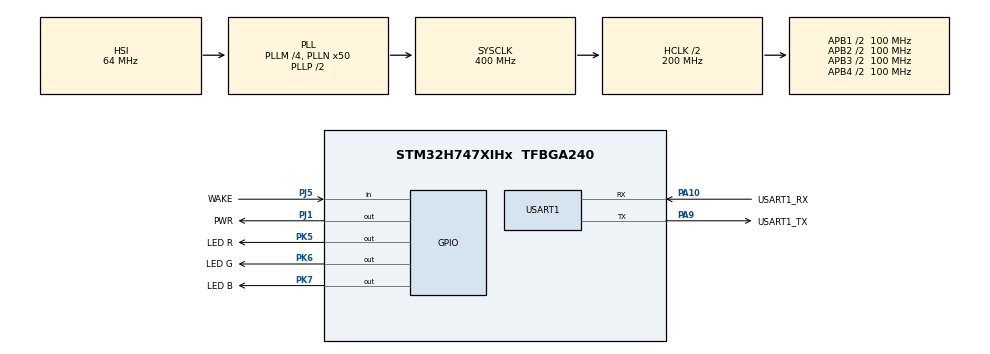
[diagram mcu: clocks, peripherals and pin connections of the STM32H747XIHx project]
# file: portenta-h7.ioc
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CortexM4.IPs=BDMA,DMA,FATFS_M4\:I,FREERTOS_M4\:I,IWDG2\:I,MDMA,NVIC2\:I,RCC,USB_DEVICE_M4\:I,USB_HOST_M4\:I,WWDG2\:I,ADC1\:I,DCMI\:I,TIM3\:I,DEBUG,PDM2PCM_M4\:I,PWR,RESMGR_UTILITY,SYS_M4\:I,CORTEX_M4\:I,OPENAMP_M4\:I,VREFBUF,GPIO
CortexM7.IPs=BDMA\:I,DMA\:I,FATFS_M7\:I,FREERTOS_M7\:I,IWDG1\:I,MDMA\:I,NVIC1\:I,RCC\:I,USB_DEVICE_M7\:I,USB_HOST_M7\:I,WWDG1\:I,CORTEX_M7\:I,DEBUG\:I,PDM2PCM_M7\:I,PWR\:I,RESMGR_UTILITY\:I,SYS\:I,OPENAMP_M7\:I,VREFBUF\:I,GPIO\:I,RNG\:I,USART1\:I,SDMMC1\:I,MEMORYMAP\:I
CortexM7.Pins=PK5,PK6,PK7,PJ1,PJ5
Mcu.Family=STM32H7
Mcu.Name=STM32H747XIHx
Mcu.Package=TFBGA240
NVIC1.PriorityGroup=NVIC_PRIORITYGROUP_4
NVIC2.PriorityGroup=NVIC_PRIORITYGROUP_4
PA10.GPIO_Label=USART1_RX
PA10.Mode=Asynchronous
PA10.PinAttribute=CortexM7
PA10.Signal=USART1_RX
PA9.GPIO_Label=USART1_TX
PA9.Mode=Asynchronous
PA9.PinAttribute=CortexM7
PA9.Signal=USART1_TX
PC10.GPIO_Label=SDIO_D2
PC10.GPIO_PuPd=GPIO_PULLUP
PC10.PinAttribute=CortexM7
PC10.Signal=SDMMC1_D2
PC11.GPIO_Label=SDIO_D3
PC11.GPIO_PuPd=GPIO_PULLUP
PC11.PinAttribute=CortexM7
PC11.Signal=SDMMC1_D3
PC12.GPIO_Label=SDIO_CLK
PC12.GPIO_PuPd=GPIO_PULLUP
PC12.PinAttribute=CortexM7
PC12.Signal=SDMMC1_CK
PC14-OSC32_IN\ (OSC32_IN).GPIO_Label=OSC32_IN
PC14-OSC32_IN\ (OSC32_IN).Mode=LSE-External-Clock-Source
PC14-OSC32_IN\ (OSC32_IN).PinAttribute=CortexM7
PC14-OSC32_IN\ (OSC32_IN).Signal=RCC_OSC32_IN
PC8.GPIO_Label=SDIO_D0
PC8.GPIO_PuPd=GPIO_PULLUP
PC8.PinAttribute=CortexM7
PC8.Signal=SDMMC1_D0
PC9.GPIO_Label=SDIO_D1
PC9.GPIO_PuPd=GPIO_PULLUP
PC9.PinAttribute=CortexM7
PC9.Signal=SDMMC1_D1
PD2.GPIO_Label=SDIO_MMC
PD2.GPIO_PuPd=GPIO_PULLUP
PD2.PinAttribute=CortexM7
PD2.Signal=SDMMC1_CMD
PH0-OSC_IN\ (PH0).GPIO_Label=OSC25M_IN
PH0-OSC_IN\ (PH0).Mode=HSE-External-Clock-Source
PH0-OSC_IN\ (PH0).PinAttribute=Free
PH0-OSC_IN\ (PH0).Signal=RCC_OSC_IN
PJ1.GPIO_Label=PWR
PJ1.PinAttribute=CortexM7
PJ1.Signal=GPIO_Output
PJ5.GPIO_Label=WAKE
PJ5.PinAttribute=CortexM7
PJ5.Signal=GPIO_Input
PK5.GPIO_Label=LED R
PK5.PinAttribute=CortexM7
PK5.PinState=GPIO_PIN_SET
PK5.Signal=GPIO_Output
PK6.GPIO_Label=LED G
PK6.PinAttribute=CortexM7
PK6.PinState=GPIO_PIN_SET
PK6.Signal=GPIO_Output
PK7.GPIO_Label=LED B
PK7.PinAttribute=CortexM7
PK7.PinState=GPIO_PIN_SET
PK7.Signal=GPIO_Output
ProjectManager.HeapSize=M4-0x200,M7-0x10000
ProjectManager.StackSize=M4-0x400,M7-0x2000
ProjectManager.TargetToolchain=CMake
RCC.ADCFreq_Value=80000000
RCC.APB1Freq_Value=100000000
RCC.APB2Freq_Value=100000000
RCC.APB3Freq_Value=100000000
RCC.APB4Freq_Value=100000000
RCC.CortexFreq_Value=400000000
RCC.D1PPRE=RCC_APB3_DIV2
RCC.D2PPRE1=RCC_APB1_DIV2
RCC.D2PPRE2=RCC_APB2_DIV2
RCC.D3PPRE=RCC_APB4_DIV2
RCC.DIVM1=4
RCC.DIVM2=4
RCC.DIVN1=50
RCC.DIVN2=10
RCC.DIVQ1=4
RCC.HCLKFreq_Value=200000000
RCC.HPRE=RCC_HCLK_DIV2
RCC.PLL2FRACN=0
RCC.PLLFRACN=0
RCC.PWR_Regulator_Voltage_Scale=PWR_REGULATOR_VOLTAGE_SCALE1
RCC.SYSCLKFreq_VALUE=400000000
RCC.SYSCLKSource=RCC_SYSCLKSOURCE_PLLCLK
RCC.SupplySource=PWR_DIRECT_SMPS_SUPPLY
RCC.USBFreq_Value=200000000
USART1.VirtualMode-Asynchronous=VM_ASYNC
VP_MEMORYMAP_VS_MEMORYMAP.Mode=CurAppReg
VP_RNG_VS_RNG.Mode=RNG_Activate
VP_SYS_M4_VS_Systick.Mode=SysTick
board=STM32H747I-DISCO

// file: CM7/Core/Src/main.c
/* USER CODE BEGIN Header */
/**
  ******************************************************************************
  * @file           : main.c
  * @brief          : Main program body
  ******************************************************************************
  * @attention
  *
  * Copyright (c) 2026 STMicroelectronics.
  * All rights reserved.
  *
  * This software is licensed under terms that can be found in the LICENSE file
  * in the root directory of this software component.
  * If no LICENSE file comes with this software, it is provided AS-IS.
  *
  ******************************************************************************
  */
/* USER CODE END Header */
#include "main.h"

/* USER CODE BEGIN Includes */
#include "mongoose.h"

/* USER CODE END Includes */

/* USER CODE BEGIN PD */

/* DUAL_CORE_BOOT_SYNC_SEQUENCE: Define for dual core boot synchronization    */
/*                             demonstration code based on hardware semaphore */
/* This define is present in both CM7/CM4 projects                            */
/* To comment when developping/debugging on a single core                     */
#define DUAL_CORE_BOOT_SYNC_SEQUENCE

#if defined(DUAL_CORE_BOOT_SYNC_SEQUENCE)
#ifndef HSEM_ID_0
#define HSEM_ID_0 (0U) /* HW semaphore 0*/
#endif
#endif /* DUAL_CORE_BOOT_SYNC_SEQUENCE */

/* USER CODE END PD */

RNG_HandleTypeDef hrng;

UART_HandleTypeDef huart1;

void SystemClock_Config(void);
static void MX_GPIO_Init(void);
static void MX_USART1_UART_Init(void);
static void MX_RNG_Init(void);

/* USER CODE BEGIN 0 */
void hwspecific_sdio_init(void);
static void log_fn(char ch, void *param) {
  HAL_UART_Transmit(param, (unsigned char *) &ch, 1, HAL_MAX_DELAY);
}

/* USER CODE END 0 */

int main(void)
{

/* USER CODE BEGIN Boot_Mode_Sequence_0 */
#if defined(DUAL_CORE_BOOT_SYNC_SEQUENCE)
  int32_t timeout;
#endif /* DUAL_CORE_BOOT_SYNC_SEQUENCE */
/* USER CODE END Boot_Mode_Sequence_0 */

/* USER CODE BEGIN Boot_Mode_Sequence_1 */
#if defined(DUAL_CORE_BOOT_SYNC_SEQUENCE)
  /* Wait until CPU2 boots and enters in stop mode or timeout*/
  timeout = 0xFFFF;
  while((__HAL_RCC_GET_FLAG(RCC_FLAG_D2CKRDY) != RESET) && (timeout-- > 0));
  if ( timeout < 0 )
  {
  Error_Handler();
  }
#endif /* DUAL_CORE_BOOT_SYNC_SEQUENCE */
/* USER CODE END Boot_Mode_Sequence_1 */
  /* MCU Configuration--------------------------------------------------------*/

  /* Reset of all peripherals, Initializes the Flash interface and the Systick. */
  HAL_Init();

  /* Configure The Vector Table address */
  SCB->VTOR = 0x08100000;

  /* Configure the system clock */
  SystemClock_Config();
/* USER CODE BEGIN Boot_Mode_Sequence_2 */
#if defined(DUAL_CORE_BOOT_SYNC_SEQUENCE)
/* When system initialization is finished, Cortex-M7 will release Cortex-M4 by means of
HSEM notification */
/*HW semaphore Clock enable*/
__HAL_RCC_HSEM_CLK_ENABLE();
/*Take HSEM */
HAL_HSEM_FastTake(HSEM_ID_0);
/*Release HSEM in order to notify the CPU2(CM4)*/
HAL_HSEM_Release(HSEM_ID_0,0);
/* wait until CPU2 wakes up from stop mode */
timeout = 0xFFFF;
while((__HAL_RCC_GET_FLAG(RCC_FLAG_D2CKRDY) == RESET) && (timeout-- > 0));
if ( timeout < 0 )
{
Error_Handler();
}
#endif /* DUAL_CORE_BOOT_SYNC_SEQUENCE */
/* USER CODE END Boot_Mode_Sequence_2 */

  /* Initialize all configured peripherals */
  MX_GPIO_Init();
  MX_USART1_UART_Init();
  MX_RNG_Init();

  /* Infinite loop */
  /* USER CODE BEGIN WHILE */
  struct mg_mgr mgr;
  hwspecific_sdio_init();
  mg_mgr_init(&mgr);
  mg_dash_init(&mgr);
  mg_log_set_fn(log_fn, &huart1);

  while (1)
  {
    mg_mgr_poll(&mgr, 0);
    mg_dash_poll(&mgr);
    /* USER CODE END WHILE */

  }
}

void SystemClock_Config(void)
{
  RCC_OscInitTypeDef RCC_OscInitStruct = {0};
  RCC_ClkInitTypeDef RCC_ClkInitStruct = {0};

  /** Supply configuration update enable
  */
  HAL_PWREx_ConfigSupply(PWR_DIRECT_SMPS_SUPPLY);

  /** Configure the main internal regulator output voltage
  */
  __HAL_PWR_VOLTAGESCALING_CONFIG(PWR_REGULATOR_VOLTAGE_SCALE1);

  while(!__HAL_PWR_GET_FLAG(PWR_FLAG_VOSRDY)) {}

  /** Initializes the RCC Oscillators according to the specified parameters
  * in the RCC_OscInitTypeDef structure.
  */
  RCC_OscInitStruct.OscillatorType = RCC_OSCILLATORTYPE_HSI48|RCC_OSCILLATORTYPE_HSI;
  RCC_OscInitStruct.HSIState = RCC_HSI_DIV1;
  RCC_OscInitStruct.HSICalibrationValue = RCC_HSICALIBRATION_DEFAULT;
  RCC_OscInitStruct.HSI48State = RCC_HSI48_ON;
  RCC_OscInitStruct.PLL.PLLState = RCC_PLL_ON;
  RCC_OscInitStruct.PLL.PLLSource = RCC_PLLSOURCE_HSI;
  RCC_OscInitStruct.PLL.PLLM = 4;
  RCC_OscInitStruct.PLL.PLLN = 50;
  RCC_OscInitStruct.PLL.PLLP = 2;
  RCC_OscInitStruct.PLL.PLLQ = 4;
  RCC_OscInitStruct.PLL.PLLR = 2;
  RCC_OscInitStruct.PLL.PLLRGE = RCC_PLL1VCIRANGE_3;
  RCC_OscInitStruct.PLL.PLLVCOSEL = RCC_PLL1VCOWIDE;
  RCC_OscInitStruct.PLL.PLLFRACN = 0;
  if (HAL_RCC_OscConfig(&RCC_OscInitStruct) != HAL_OK)
  {
    Error_Handler();
  }

  /** Initializes the CPU, AHB and APB buses clocks
  */
  RCC_ClkInitStruct.ClockType = RCC_CLOCKTYPE_HCLK|RCC_CLOCKTYPE_SYSCLK
                              |RCC_CLOCKTYPE_PCLK1|RCC_CLOCKTYPE_PCLK2
                              |RCC_CLOCKTYPE_D3PCLK1|RCC_CLOCKTYPE_D1PCLK1;
  RCC_ClkInitStruct.SYSCLKSource = RCC_SYSCLKSOURCE_PLLCLK;
  RCC_ClkInitStruct.SYSCLKDivider = RCC_SYSCLK_DIV1;
  RCC_ClkInitStruct.AHBCLKDivider = RCC_HCLK_DIV2;
  RCC_ClkInitStruct.APB3CLKDivider = RCC_APB3_DIV2;
  RCC_ClkInitStruct.APB1CLKDivider = RCC_APB1_DIV2;
  RCC_ClkInitStruct.APB2CLKDivider = RCC_APB2_DIV2;
  RCC_ClkInitStruct.APB4CLKDivider = RCC_APB4_DIV2;

  if (HAL_RCC_ClockConfig(&RCC_ClkInitStruct, FLASH_LATENCY_2) != HAL_OK)
  {
    Error_Handler();
  }
}

static void MX_RNG_Init(void)
{

  hrng.Instance = RNG;
  hrng.Init.ClockErrorDetection = RNG_CED_ENABLE;
  if (HAL_RNG_Init(&hrng) != HAL_OK)
  {
    Error_Handler();
  }

}

static void MX_USART1_UART_Init(void)
{

  huart1.Instance = USART1;
  huart1.Init.BaudRate = 115200;
  huart1.Init.WordLength = UART_WORDLENGTH_8B;
  huart1.Init.StopBits = UART_STOPBITS_1;
  huart1.Init.Parity = UART_PARITY_NONE;
  huart1.Init.Mode = UART_MODE_TX_RX;
  huart1.Init.HwFlowCtl = UART_HWCONTROL_NONE;
  huart1.Init.OverSampling = UART_OVERSAMPLING_16;
  huart1.Init.OneBitSampling = UART_ONE_BIT_SAMPLE_DISABLE;
  huart1.Init.ClockPrescaler = UART_PRESCALER_DIV1;
  huart1.AdvancedInit.AdvFeatureInit = UART_ADVFEATURE_NO_INIT;
  if (HAL_UART_Init(&huart1) != HAL_OK)
  {
    Error_Handler();
  }
  if (HAL_UARTEx_SetTxFifoThreshold(&huart1, UART_TXFIFO_THRESHOLD_1_8) != HAL_OK)
  {
    Error_Handler();
  }
  if (HAL_UARTEx_SetRxFifoThreshold(&huart1, UART_RXFIFO_THRESHOLD_1_8) != HAL_OK)
  {
    Error_Handler();
  }
  if (HAL_UARTEx_DisableFifoMode(&huart1) != HAL_OK)
  {
    Error_Handler();
  }

}

static void MX_GPIO_Init(void)
{
  GPIO_InitTypeDef GPIO_InitStruct = {0};

  /* GPIO Ports Clock Enable */
  __HAL_RCC_GPIOK_CLK_ENABLE();
  __HAL_RCC_GPIOC_CLK_ENABLE();
  __HAL_RCC_GPIOD_CLK_ENABLE();
  __HAL_RCC_GPIOA_CLK_ENABLE();
  __HAL_RCC_GPIOJ_CLK_ENABLE();

  /*Configure GPIO pin Output Level */
  HAL_GPIO_WritePin(GPIOK, LED_R_Pin|LED_G_Pin|LED_B_Pin, GPIO_PIN_SET);

  /*Configure GPIO pin Output Level */
  HAL_GPIO_WritePin(PWR_GPIO_Port, PWR_Pin, GPIO_PIN_RESET);

  /*Configure GPIO pins : LED_R_Pin LED_G_Pin LED_B_Pin */
  GPIO_InitStruct.Pin = LED_R_Pin|LED_G_Pin|LED_B_Pin;
  GPIO_InitStruct.Mode = GPIO_MODE_OUTPUT_PP;
  GPIO_InitStruct.Pull = GPIO_NOPULL;
  GPIO_InitStruct.Speed = GPIO_SPEED_FREQ_LOW;
  HAL_GPIO_Init(GPIOK, &GPIO_InitStruct);

  /*Configure GPIO pins : PC10 PC11 PC12 PC8
                           PC9 */
  GPIO_InitStruct.Pin = GPIO_PIN_10|GPIO_PIN_11|GPIO_PIN_12|GPIO_PIN_8
                          |GPIO_PIN_9;
  GPIO_InitStruct.Mode = GPIO_MODE_AF_PP;
  GPIO_InitStruct.Pull = GPIO_PULLUP;
  GPIO_InitStruct.Speed = GPIO_SPEED_FREQ_VERY_HIGH;
  GPIO_InitStruct.Alternate = GPIO_AF12_SDIO1;
  HAL_GPIO_Init(GPIOC, &GPIO_InitStruct);

  /*Configure GPIO pin : PD2 */
  GPIO_InitStruct.Pin = GPIO_PIN_2;
  GPIO_InitStruct.Mode = GPIO_MODE_AF_PP;
  GPIO_InitStruct.Pull = GPIO_PULLUP;
  GPIO_InitStruct.Speed = GPIO_SPEED_FREQ_VERY_HIGH;
  GPIO_InitStruct.Alternate = GPIO_AF12_SDIO1;
  HAL_GPIO_Init(GPIOD, &GPIO_InitStruct);

  /*Configure GPIO pin : PWR_Pin */
  GPIO_InitStruct.Pin = PWR_Pin;
  GPIO_InitStruct.Mode = GPIO_MODE_OUTPUT_PP;
  GPIO_InitStruct.Pull = GPIO_NOPULL;
  GPIO_InitStruct.Speed = GPIO_SPEED_FREQ_LOW;
  HAL_GPIO_Init(PWR_GPIO_Port, &GPIO_InitStruct);

  /*Configure GPIO pin : WAKE_Pin */
  GPIO_InitStruct.Pin = WAKE_Pin;
  GPIO_InitStruct.Mode = GPIO_MODE_INPUT;
  GPIO_InitStruct.Pull = GPIO_NOPULL;
  HAL_GPIO_Init(WAKE_GPIO_Port, &GPIO_InitStruct);

}

void Error_Handler(void)
{
  __disable_irq();
  while (1)
  {
  }
}
